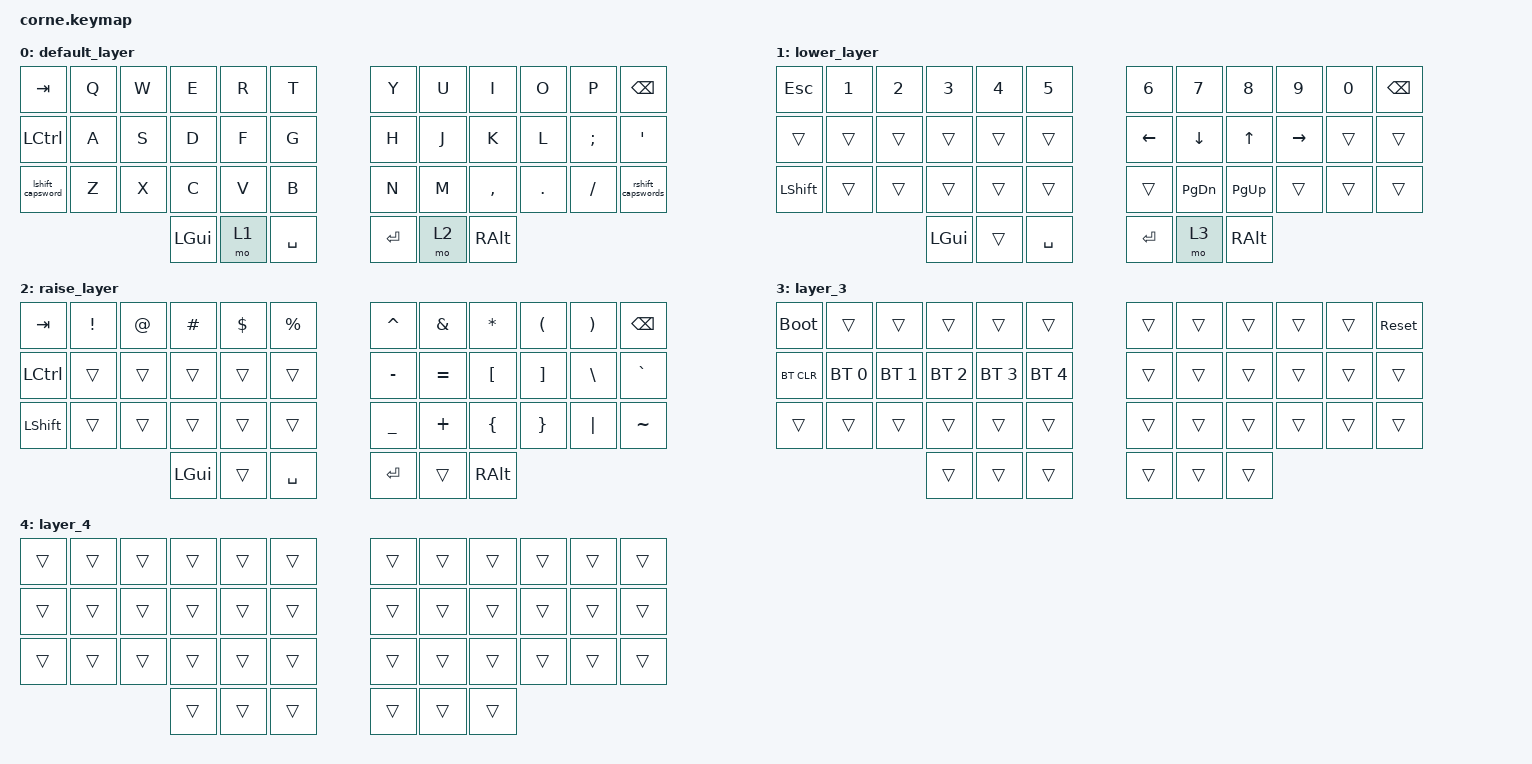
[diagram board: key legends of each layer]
/*
 * Copyright (c) 2020 The ZMK Contributors
 *
 * SPDX-License-Identifier: MIT
 */

#include <behaviors.dtsi>
#include <dt-bindings/zmk/bt.h>
#include <dt-bindings/zmk/keys.h>

/ {
    behaviors {
        lshift_capsword: lshift_capsword {
            compatible = "zmk,behavior-tap-dance";
            label = "LSHIFT_CAPSWORD";
            #binding-cells = <0>;
            bindings = <&kp LSHIFT>, <&caps_word>;
        };

        rshift_capswords: rshift_capswords {
            compatible = "zmk,behavior-tap-dance";
            label = "RSHIFT_CAPSWORDS";
            #binding-cells = <0>;
            bindings = <&kp RSHIFT>, <&caps_word>;
        };
    };

    keymap {
        compatible = "zmk,keymap";

        default_layer {
            // -----------------------------------------------------------------------------------------
            // |  TAB |  Q  |  W  |  E  |  R  |  T  |   |  Y  |  U   |  I  |  O  |  P  | BKSP |
            // | CTRL |  A  |  S  |  D  |  F  |  G  |   |  H  |  J   |  K  |  L  |  ;  |  '   |
            // | SHFT |  Z  |  X  |  C  |  V  |  B  |   |  N  |  M   |  ,  |  .  |  /  | ESC  |
            //                    | GUI | LWR | SPC |   | ENT | RSE  | ALT |

            bindings = <
&kp TAB           &kp Q  &kp W  &kp E     &kp R  &kp T        &kp Y    &kp U  &kp I      &kp O    &kp P     &kp BSPC
&kp LCTRL         &kp A  &kp S  &kp D     &kp F  &kp G        &kp H    &kp J  &kp K      &kp L    &kp SEMI  &kp SQT
&lshift_capsword  &kp Z  &kp X  &kp C     &kp V  &kp B        &kp N    &kp M  &kp COMMA  &kp DOT  &kp FSLH  &rshift_capswords
                                &kp LGUI  &mo 1  &kp SPACE    &kp RET  &mo 2  &kp RALT
            >;
        };

        lower_layer {
            // -----------------------------------------------------------------------------------------
            // |  TAB |  1  |  2  |  3  |  4  |  5  |   |  6  |  7  |  8  |  9  |  0  | BKSP |
            // | BTCLR| BT1 | BT2 | BT3 | BT4 | BT5 |   | LFT | DWN |  UP | RGT |     |      |
            // | SHFT |     |     |     |     |     |   |     |     |     |     |     |      |
            //                    | GUI |     | SPC |   | ENT |     | ALT |

            bindings = <
&kp ESCAPE  &kp N1  &kp N2  &kp N3    &kp N4  &kp N5       &kp N6    &kp N7     &kp N8     &kp N9     &kp N0  &kp BSPC
&trans      &trans  &trans  &trans    &trans  &trans       &kp LEFT  &kp DOWN   &kp UP     &kp RIGHT  &trans  &trans
&kp LSHFT   &trans  &trans  &trans    &trans  &trans       &trans    &kp PG_DN  &kp PG_UP  &trans     &trans  &trans
                            &kp LGUI  &trans  &kp SPACE    &kp RET   &mo 3      &kp RALT
            >;
        };

        raise_layer {
            // -----------------------------------------------------------------------------------------
            // |  TAB |  !  |  @  |  #  |  $  |  %  |   |  ^  |  &  |  *  |  (  |  )  | BKSP |
            // | CTRL |     |     |     |     |     |   |  -  |  =  |  [  |  ]  |  \  |  `   |
            // | SHFT |     |     |     |     |     |   |  _  |  +  |  {  |  }  | "|" |  ~   |
            //                    | GUI |     | SPC |   | ENT |     | ALT |

            bindings = <
&kp TAB    &kp EXCL  &kp AT  &kp HASH  &kp DLLR  &kp PRCNT    &kp CARET  &kp AMPS   &kp ASTRK  &kp LPAR  &kp RPAR  &kp BSPC
&kp LCTRL  &trans    &trans  &trans    &trans    &trans       &kp MINUS  &kp EQUAL  &kp LBKT   &kp RBKT  &kp BSLH  &kp GRAVE
&kp LSHFT  &trans    &trans  &trans    &trans    &trans       &kp UNDER  &kp PLUS   &kp LBRC   &kp RBRC  &kp PIPE  &kp TILDE
                             &kp LGUI  &trans    &kp SPACE    &kp RET    &trans     &kp RALT
            >;
        };

        layer_3 {
            bindings = <
&bootloader  &trans        &trans        &trans        &trans        &trans          &trans  &trans  &trans  &trans  &trans  &sys_reset
&bt BT_CLR   &bt BT_SEL 0  &bt BT_SEL 1  &bt BT_SEL 2  &bt BT_SEL 3  &bt BT_SEL 4    &trans  &trans  &trans  &trans  &trans  &trans
&trans       &trans        &trans        &trans        &trans        &trans          &trans  &trans  &trans  &trans  &trans  &trans
                                         &trans        &trans        &trans          &trans  &trans  &trans
            >;
        };

        layer_4 {
            bindings = <
&trans  &trans  &trans  &trans  &trans  &trans    &trans  &trans  &trans  &trans  &trans  &trans
&trans  &trans  &trans  &trans  &trans  &trans    &trans  &trans  &trans  &trans  &trans  &trans
&trans  &trans  &trans  &trans  &trans  &trans    &trans  &trans  &trans  &trans  &trans  &trans
                        &trans  &trans  &trans    &trans  &trans  &trans
            >;
        };
    };
};
